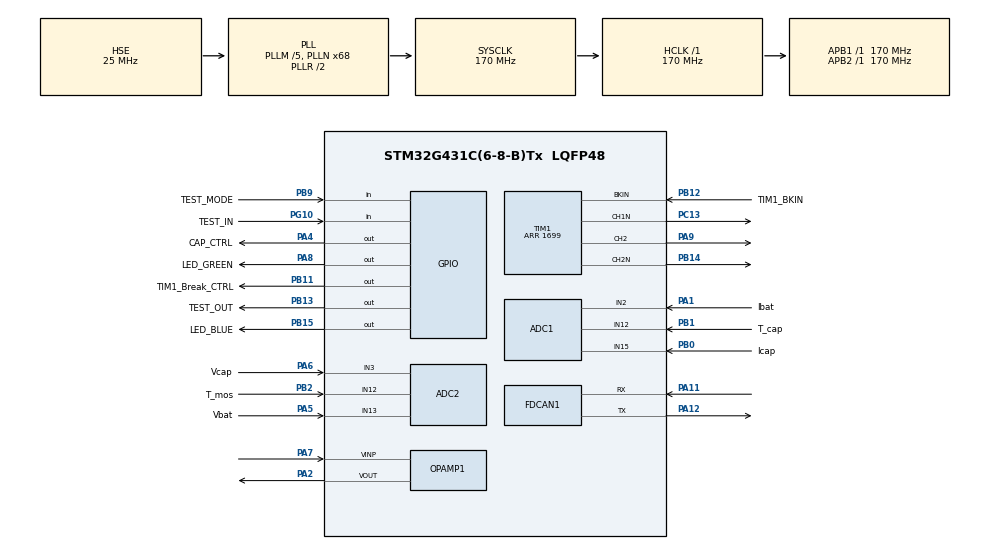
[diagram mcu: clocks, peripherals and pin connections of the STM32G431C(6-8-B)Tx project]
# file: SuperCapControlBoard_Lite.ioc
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ADC1.Channel-0\#ChannelRegularConversion=ADC_CHANNEL_2
ADC1.Channel-1\#ChannelRegularConversion=ADC_CHANNEL_15
ADC1.Channel-2\#ChannelRegularConversion=ADC_CHANNEL_12
ADC1.ClockPrescaler=ADC_CLOCK_ASYNC_DIV1
ADC1.ContinuousConvMode=DISABLE
ADC1.DMAContinuousRequests=ENABLE
ADC1.EOCSelection=ADC_EOC_SEQ_CONV
ADC1.EnableInjectedConversion=DISABLE
ADC1.ExternalTrigConv=ADC_EXTERNALTRIG_T1_TRGO
ADC1.ExternalTrigConvEdge=ADC_EXTERNALTRIGCONVEDGE_RISINGFALLING
ADC1.NbrOfConversion=3
ADC1.NbrOfConversionFlag=1
ADC1.OffsetNumber-0\#ChannelRegularConversion=ADC_OFFSET_NONE
ADC1.OffsetNumber-1\#ChannelRegularConversion=ADC_OFFSET_NONE
ADC1.OffsetNumber-2\#ChannelRegularConversion=ADC_OFFSET_NONE
ADC1.Overrun=ADC_OVR_DATA_OVERWRITTEN
ADC1.Rank-0\#ChannelRegularConversion=1
ADC1.Rank-1\#ChannelRegularConversion=2
ADC1.Rank-2\#ChannelRegularConversion=3
ADC1.SamplingTime-0\#ChannelRegularConversion=ADC_SAMPLETIME_24CYCLES_5
ADC1.SamplingTime-1\#ChannelRegularConversion=ADC_SAMPLETIME_24CYCLES_5
ADC1.SamplingTime-2\#ChannelRegularConversion=ADC_SAMPLETIME_2CYCLES_5
ADC1.master=1
ADC2.Channel-0\#ChannelRegularConversion=ADC_CHANNEL_13
ADC2.Channel-3\#ChannelRegularConversion=ADC_CHANNEL_3
ADC2.Channel-4\#ChannelRegularConversion=ADC_CHANNEL_12
ADC2.ClockPrescaler=ADC_CLOCK_ASYNC_DIV1
ADC2.ContinuousConvMode=DISABLE
ADC2.DMAContinuousRequests=ENABLE
ADC2.EOCSelection=ADC_EOC_SEQ_CONV
ADC2.ExternalTrigConv=ADC_EXTERNALTRIG_T1_TRGO
ADC2.ExternalTrigConvEdge=ADC_EXTERNALTRIGCONVEDGE_RISINGFALLING
ADC2.NbrOfConversion=3
ADC2.NbrOfConversionFlag=1
ADC2.OffsetNumber-0\#ChannelRegularConversion=ADC_OFFSET_NONE
ADC2.OffsetNumber-3\#ChannelRegularConversion=ADC_OFFSET_NONE
ADC2.OffsetNumber-4\#ChannelRegularConversion=ADC_OFFSET_NONE
ADC2.Overrun=ADC_OVR_DATA_OVERWRITTEN
ADC2.Rank-0\#ChannelRegularConversion=1
ADC2.Rank-3\#ChannelRegularConversion=2
ADC2.Rank-4\#ChannelRegularConversion=3
ADC2.SamplingTime-0\#ChannelRegularConversion=ADC_SAMPLETIME_24CYCLES_5
ADC2.SamplingTime-3\#ChannelRegularConversion=ADC_SAMPLETIME_24CYCLES_5
ADC2.SamplingTime-4\#ChannelRegularConversion=ADC_SAMPLETIME_2CYCLES_5
Dma.ADC1.0.Direction=DMA_PERIPH_TO_MEMORY
Dma.ADC1.0.EventEnable=DISABLE
Dma.ADC1.0.Instance=DMA1_Channel1
Dma.ADC1.0.MemDataAlignment=DMA_MDATAALIGN_HALFWORD
Dma.ADC1.0.MemInc=DMA_MINC_ENABLE
Dma.ADC1.0.Mode=DMA_CIRCULAR
Dma.ADC1.0.PeriphDataAlignment=DMA_PDATAALIGN_HALFWORD
Dma.ADC1.0.PeriphInc=DMA_PINC_DISABLE
Dma.ADC1.0.Polarity=HAL_DMAMUX_REQ_GEN_RISING
Dma.ADC1.0.Priority=DMA_PRIORITY_VERY_HIGH
Dma.ADC1.0.RequestNumber=1
Dma.ADC1.0.SignalID=NONE
Dma.ADC1.0.SyncEnable=DISABLE
Dma.ADC1.0.SyncPolarity=HAL_DMAMUX_SYNC_NO_EVENT
Dma.ADC1.0.SyncRequestNumber=1
Dma.ADC1.0.SyncSignalID=NONE
Dma.ADC2.1.Direction=DMA_PERIPH_TO_MEMORY
Dma.ADC2.1.EventEnable=DISABLE
Dma.ADC2.1.Instance=DMA2_Channel1
Dma.ADC2.1.MemDataAlignment=DMA_MDATAALIGN_HALFWORD
Dma.ADC2.1.MemInc=DMA_MINC_ENABLE
Dma.ADC2.1.Mode=DMA_CIRCULAR
Dma.ADC2.1.PeriphDataAlignment=DMA_PDATAALIGN_HALFWORD
Dma.ADC2.1.PeriphInc=DMA_PINC_DISABLE
Dma.ADC2.1.Polarity=HAL_DMAMUX_REQ_GEN_RISING
Dma.ADC2.1.Priority=DMA_PRIORITY_VERY_HIGH
Dma.ADC2.1.RequestNumber=1
Dma.ADC2.1.SignalID=NONE
Dma.ADC2.1.SyncEnable=DISABLE
Dma.ADC2.1.SyncPolarity=HAL_DMAMUX_SYNC_NO_EVENT
Dma.ADC2.1.SyncRequestNumber=1
Dma.ADC2.1.SyncSignalID=NONE
Dma.Request0=ADC1
Dma.Request1=ADC2
FDCAN1.CalculateBaudRateNominal=999999
FDCAN1.CalculateTimeBitNominal=1000
FDCAN1.CalculateTimeQuantumNominal=58.82352941176471
FDCAN1.NominalPrescaler=10
FDCAN1.NominalTimeSeg1=12
FDCAN1.NominalTimeSeg2=4
FDCAN1.StdFiltersNbr=1
IWDG.Prescaler=IWDG_PRESCALER_32
IWDG.Reload=100
IWDG.Window=4095
Mcu.Family=STM32G4
Mcu.Name=STM32G431C(6-8-B)Tx
Mcu.Package=LQFP48
NVIC.DMA1_Channel1_IRQn=true\:0\:0\:false\:false\:true\:true\:true\:true
NVIC.FDCAN1_IT0_IRQn=true\:1\:0\:true\:false\:true\:true\:true\:true
NVIC.PriorityGroup=NVIC_PRIORITYGROUP_4
PA1.GPIO_Label=Ibat
PA1.Mode=IN2-Single-Ended
PA1.Signal=ADC1_IN2
PA11.Mode=FDCAN_Activate
PA11.Signal=FDCAN1_RX
PA12.Mode=FDCAN_Activate
PA12.Signal=FDCAN1_TX
PA13.Mode=Serial_Wire
PA13.Signal=SYS_JTMS-SWDIO
PA14.Mode=Serial_Wire
PA14.Signal=SYS_JTCK-SWCLK
PA2.Mode=Follower
PA2.Signal=OPAMP1_VOUT
PA4.GPIO_Label=CAP_CTRL
PA4.Signal=GPIO_Output
PA5.GPIO_Label=Vbat
PA5.Mode=IN13-Single-Ended
PA5.Signal=ADC2_IN13
PA6.GPIO_Label=Vcap
PA6.Mode=IN3-Single-Ended
PA6.Signal=ADC2_IN3
PA7.Mode=Follower
PA7.Signal=OPAMP1_VINP
PA8.GPIO_Label=LED_GREEN
PA8.Signal=GPIO_Output
PA9.Signal=S_TIM1_CH2
PB0.GPIO_Label=Icap
PB0.Mode=IN15-Single-Ended
PB0.Signal=ADC1_IN15
PB1.GPIO_Label=T_cap
PB1.Mode=IN12-Single-Ended
PB1.Signal=ADC1_IN12
PB11.GPIO_Label=TIM1_Break_CTRL
PB11.Signal=GPIO_Output
PB12.GPIO_Label=TIM1_BKIN
PB12.GPIO_PuPd=GPIO_PULLUP
PB12.Mode=Activate-Break-Input
PB12.Signal=TIM1_BKIN
PB13.GPIO_Label=TEST_OUT
PB13.Signal=GPIO_Output
PB14.Mode=PWM Generation2 CH2 CH2N
PB14.Signal=TIM1_CH2N
PB15.GPIO_Label=LED_BLUE
PB15.Signal=GPIO_Output
PB2.GPIO_Label=T_mos
PB2.Mode=IN12-Single-Ended
PB2.Signal=ADC2_IN12
PB9.GPIO_Label=TEST_MODE
PB9.GPIO_PuPd=GPIO_PULLDOWN
PB9.Signal=GPIO_Input
PC13.Mode=Output Compare1 CH1N
PC13.Signal=TIM1_CH1N
PF0-OSC_IN.Mode=HSE-External-Oscillator
PF0-OSC_IN.Signal=RCC_OSC_IN
PF1-OSC_OUT.Mode=HSE-External-Oscillator
PF1-OSC_OUT.Signal=RCC_OSC_OUT
PG10-NRST.GPIO_Label=TEST_IN
PG10-NRST.GPIO_PuPd=GPIO_PULLUP
PG10-NRST.Signal=GPIO_Input
ProjectManager.HeapSize=0x200
ProjectManager.StackSize=0x400
ProjectManager.TargetToolchain=Makefile
RCC.ADC12CLockSelection=RCC_ADC12CLKSOURCE_PLL
RCC.ADC12Freq_Value=56666666.666666664
RCC.AHBFreq_Value=170000000
RCC.APB1Freq_Value=170000000
RCC.APB1TimFreq_Value=170000000
RCC.APB2Freq_Value=170000000
RCC.APB2TimFreq_Value=170000000
RCC.CortexFreq_Value=170000000
RCC.EXTERNAL_CLOCK_VALUE=12288000
RCC.FDCANCLockSelection=RCC_FDCANCLKSOURCE_PLL
RCC.HCLKFreq_Value=170000000
RCC.HSE_VALUE=25000000
RCC.HSI48_VALUE=48000000
RCC.HSI_VALUE=16000000
RCC.LSE_VALUE=32768
RCC.PLLM=RCC_PLLM_DIV5
RCC.PLLN=68
RCC.PLLP=RCC_PLLP_DIV6
RCC.PLLSourceVirtual=RCC_PLLSOURCE_HSE
RCC.SYSCLKFreq_VALUE=170000000
RCC.SYSCLKSource=RCC_SYSCLKSOURCE_PLLCLK
RCC.USBFreq_Value=170000000
RCC.VCOOutputFreq_Value=340000000
SH.S_TIM1_CH2.0=TIM1_CH2,PWM Generation2 CH2 CH2N
SYS.VoltageScaling=SYSCFG_VREFBUF_VOLTAGE_SCALE1
TIM1.AsymmetricalDeadTime=ENABLE
TIM1.AutoReloadPreload=TIM_AUTORELOAD_PRELOAD_ENABLE
TIM1.AutomaticOutput=TIM_AUTOMATICOUTPUT_ENABLE
TIM1.Channel-Output\ Compare1\ CH1N=TIM_CHANNEL_1
TIM1.Channel-PWM\ Generation2\ CH2\ CH2N=TIM_CHANNEL_2
TIM1.DeadTime=25
TIM1.DeadTimePreload=ENABLE
TIM1.Dithering=Enable
TIM1.FallingDeadTime=25
TIM1.Fractionnal_PulseDither_1=0
TIM1.Fractionnal_PulseDither_2=0
TIM1.Integer_PeriodDither=1699
TIM1.Integer_PulseDither_1=0
TIM1.Integer_PulseDither_2=0
TIM1.OC1Preload=ENABLE
TIM1.OCMode_1=TIM_OCMODE_TOGGLE
TIM1.OCNPolarity_1=TIM_OCNPOLARITY_HIGH
TIM1.OffStateIDLEMode=TIM_OSSI_ENABLE
TIM1.PeriodNoDither=1699
TIM1.PulseNoDither_1=300
TIM1.PulseNoDither_2=800
TIM1.SourceBRKDigInputPolarity=TIM_BREAKINPUTSOURCE_POLARITY_HIGH
TIM1.TIM_MasterOutputTrigger=TIM_TRGO_OC1REF
TIM1.TIM_MasterOutputTrigger2=TIM_TRGO2_RESET
VP_IWDG_VS_IWDG.Mode=IWDG_Activate
VP_SYS_VS_DBSignals.Mode=DisableDeadBatterySignals
VREF+.Mode=InternalMode
VREF+.Signal=VREFBUF_OUT
board=custom

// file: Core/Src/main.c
/* USER CODE BEGIN Header */
/**
  ******************************************************************************
  * @file           : main.c
  * @brief          : Main program body
  ******************************************************************************
  * @attention
  *
  * Copyright (c) 2024 STMicroelectronics.
  * All rights reserved.
  *
  * This software is licensed under terms that can be found in the LICENSE file
  * in the root directory of this software component.
  * If no LICENSE file comes with this software, it is provided AS-IS.
  *
  ******************************************************************************
  */
/* USER CODE END Header */
#include "main.h"
#include "adc.h"
#include "dma.h"
#include "fdcan.h"
#include "iwdg.h"
#include "opamp.h"
#include "tim.h"
#include "gpio.h"

void SystemClock_Config(void);

int main(void)
{

  /* MCU Configuration--------------------------------------------------------*/

  /* Reset of all peripherals, Initializes the Flash interface and the Systick. */
  HAL_Init();

  /* Configure the system clock */
  SystemClock_Config();

  /* Initialize all configured peripherals */
  MX_GPIO_Init();
  MX_DMA_Init();
  MX_ADC1_Init();
  MX_ADC2_Init();
  MX_FDCAN1_Init();
  MX_TIM1_Init();
  MX_OPAMP1_Init();
  MX_IWDG_Init();
  /* USER CODE BEGIN 2 */

  //根据96位唯一UID获取ADC拟合参数
  ADC_Curve_Fitting();

  //电源环路参数初始化
  Power_Loop_Parameter_Init();

  //运放自校准
  HAL_OPAMP_SelfCalibrate(&hopamp1);
  HAL_IWDG_Refresh(&hiwdg);
  HAL_Delay(1);

  //启动运放
  HAL_OPAMP_Start(&hopamp1);

  //ADC自校准
  HAL_ADCEx_Calibration_Start(&hadc1,ADC_SINGLE_ENDED);
  HAL_Delay(1);
  HAL_ADCEx_Calibration_Start(&hadc2,ADC_SINGLE_ENDED);
  HAL_Delay(1);

  HAL_IWDG_Refresh(&hiwdg);

  //ADC启动，DMA传输模式
  HAL_ADC_Start_DMA(&hadc1,(uint32_t *)ADC1Value,3);
  //DMA半满中断关闭，使用ADC的DMA全满是，代表ADC数据已经完全转换，然后再进入中断进行PID环路计算
  __HAL_DMA_DISABLE_IT(&hdma_adc1,DMA_IT_HT);
  HAL_ADC_Start_DMA(&hadc2,(uint32_t *)ADC2Value,3);
  //ADC2没开启DMA中断，ADC1和ADC2是同步进行采样的

  //FDCAN过滤器初始化
  FDCAN_Filter_Init();

  //开启FDCAN
  HAL_FDCAN_Start(&hfdcan1);

  //半桥PWM的定时器启动
  HAL_TIM_PWM_Start(&htim1,TIM_CHANNEL_2);
  HAL_TIMEx_PWMN_Start(&htim1,TIM_CHANNEL_2);

  //开启FDCAN中断
  HAL_FDCAN_ActivateNotification(&hfdcan1,FDCAN_IT_RX_FIFO0_NEW_MESSAGE,0);
  //ADC触发的定时器通道，当开启这个定时器通道时，ADC将会开始触发，DMA中断开始生效，为了保证中断不会打断初始化，必须最后开启。
  HAL_TIMEx_OCN_Start(&htim1,TIM_CHANNEL_1);

  /* USER CODE END 2 */

  /* Infinite loop */
  /* USER CODE BEGIN WHILE */
  while (1)
  {
    Free_Loop();
    /* USER CODE END WHILE */

  }
}

void SystemClock_Config(void)
{
  RCC_OscInitTypeDef RCC_OscInitStruct = {0};
  RCC_ClkInitTypeDef RCC_ClkInitStruct = {0};

  /** Configure the main internal regulator output voltage
  */
  HAL_PWREx_ControlVoltageScaling(PWR_REGULATOR_VOLTAGE_SCALE1_BOOST);

  /** Initializes the RCC Oscillators according to the specified parameters
  * in the RCC_OscInitTypeDef structure.
  */
  RCC_OscInitStruct.OscillatorType = RCC_OSCILLATORTYPE_LSI|RCC_OSCILLATORTYPE_HSE;
  RCC_OscInitStruct.HSEState = RCC_HSE_ON;
  RCC_OscInitStruct.LSIState = RCC_LSI_ON;
  RCC_OscInitStruct.PLL.PLLState = RCC_PLL_ON;
  RCC_OscInitStruct.PLL.PLLSource = RCC_PLLSOURCE_HSE;
  RCC_OscInitStruct.PLL.PLLM = RCC_PLLM_DIV5;
  RCC_OscInitStruct.PLL.PLLN = 68;
  RCC_OscInitStruct.PLL.PLLP = RCC_PLLP_DIV6;
  RCC_OscInitStruct.PLL.PLLQ = RCC_PLLQ_DIV2;
  RCC_OscInitStruct.PLL.PLLR = RCC_PLLR_DIV2;
  if (HAL_RCC_OscConfig(&RCC_OscInitStruct) != HAL_OK)
  {
    Error_Handler();
  }

  /** Initializes the CPU, AHB and APB buses clocks
  */
  RCC_ClkInitStruct.ClockType = RCC_CLOCKTYPE_HCLK|RCC_CLOCKTYPE_SYSCLK
                              |RCC_CLOCKTYPE_PCLK1|RCC_CLOCKTYPE_PCLK2;
  RCC_ClkInitStruct.SYSCLKSource = RCC_SYSCLKSOURCE_PLLCLK;
  RCC_ClkInitStruct.AHBCLKDivider = RCC_SYSCLK_DIV1;
  RCC_ClkInitStruct.APB1CLKDivider = RCC_HCLK_DIV1;
  RCC_ClkInitStruct.APB2CLKDivider = RCC_HCLK_DIV1;

  if (HAL_RCC_ClockConfig(&RCC_ClkInitStruct, FLASH_LATENCY_4) != HAL_OK)
  {
    Error_Handler();
  }
}

void Error_Handler(void)
{
  __disable_irq();
  while (1)
  {
  }
}
